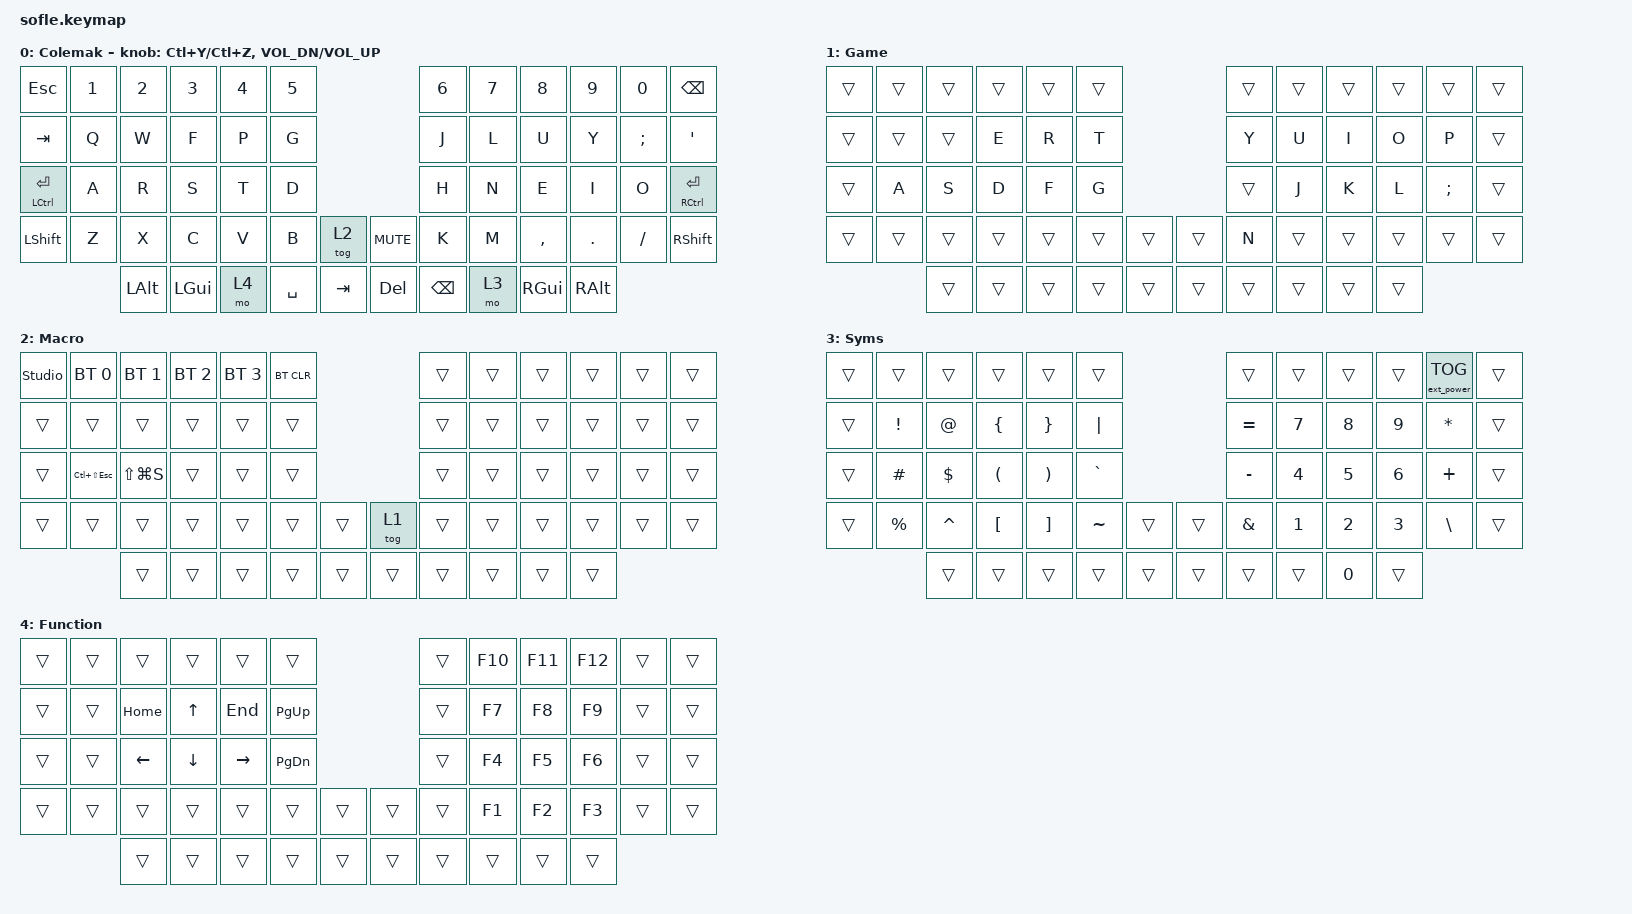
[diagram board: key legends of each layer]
#include <behaviors.dtsi>
#include <dt-bindings/zmk/bt.h>
#include <dt-bindings/zmk/ext_power.h>
#include <dt-bindings/zmk/keys.h>

/ {
    sensors {
        triggers-per-rotation = <20>;
    };
};

&nice_view_spi { cs-gpios = <&pro_micro 0 GPIO_ACTIVE_HIGH>; };

&left_encoder { steps = <80>; };
&right_encoder { steps = <80>; };

/ {
    keymap {
        compatible = "zmk,keymap";

        colemak {
            display-name = "Colemak";
            bindings = <
                &kp ESC          &kp N1      &kp N2      &kp N3       &kp N4       &kp N5                                &kp N6         &kp N7       &kp N8       &kp N9      &kp N0      &kp BACKSPACE
                &kp TAB          &kp Q       &kp W       &kp F        &kp P        &kp G                                 &kp J          &kp L        &kp U        &kp Y       &kp SEMI    &kp SQT
                &mt LCTRL ENTER  &kp A       &kp R       &kp S        &kp T        &kp D                                 &kp H          &kp N        &kp E        &kp I       &kp O       &mt RCTRL ENTER  
                &kp LSHFT        &kp Z       &kp X       &kp C        &kp V        &kp B      &tog 2        &kp C_MUTE   &kp K          &kp M        &kp COMMA    &kp DOT     &kp FSLH    &kp RSHFT
                                             &kp LALT    &kp LGUI     &mo 4        &kp SPACE  &kp TAB       &kp DEL      &kp BACKSPACE  &mo 3        &kp RGUI     &kp RALT
            >;

            sensor-bindings = <&inc_dec_kp LC(Y) LC(Z) &inc_dec_kp C_VOL_DN C_VOL_UP>;
        };

        game {
            display-name = "Game";
            bindings = <
                &trans  &trans  &trans  &trans  &trans  &trans                          &trans  &trans  &trans  &trans    &trans    &trans
                &trans  &trans  &trans  &kp E   &kp R   &kp T                           &kp Y   &kp U   &kp I   &kp O     &kp P     &trans
                &trans  &kp A   &kp S   &kp D   &kp F   &kp G                           &trans  &kp J   &kp K   &kp L     &kp SEMI  &trans
                &trans  &trans  &trans  &trans  &trans  &trans  &trans       &trans      &kp N   &trans  &trans  &trans    &trans    &trans
                                &trans  &trans  &trans  &trans  &trans       &trans      &trans  &trans  &trans  &trans
            >;
        };

        macro {
            display-name = "Macro";
            bindings = <
                &studio_unlock  &bt BT_SEL 0         &bt BT_SEL 1    &bt BT_SEL 2   &bt BT_SEL 3   &bt BT_CLR                       &trans  &trans  &trans  &trans  &trans  &trans
                &trans          &trans               &trans          &trans         &trans         &trans                           &trans  &trans  &trans  &trans  &trans  &trans
                &trans          &kp LC(LS(ESCAPE))   &kp LS(LG(S))   &trans         &trans         &trans                           &trans  &trans  &trans  &trans  &trans  &trans
                &trans          &trans               &trans          &trans         &trans         &trans      &trans    &tog 1     &trans  &trans  &trans  &trans  &trans  &trans
                                                     &trans          &trans         &trans         &trans      &trans    &trans     &trans  &trans  &trans  &trans
            >;
        };

        symbol {
            display-name = "Syms";
            bindings = <
                &trans  &trans     &trans     &trans    &trans    &trans                             &trans     &trans  &trans  &trans  &ext_power EP_TOG  &trans
                &trans  &kp EXCL   &kp AT     &kp LBRC  &kp RBRC  &kp PIPE                           &kp EQUAL  &kp N7  &kp N8  &kp N9  &kp ASTRK          &trans
                &trans  &kp HASH   &kp DLLR   &kp LPAR  &kp RPAR  &kp GRAVE                          &kp MINUS  &kp N4  &kp N5  &kp N6  &kp PLUS           &trans
                &trans  &kp PRCNT  &kp CARET  &kp LBKT  &kp RBKT  &kp TILDE  &trans      &trans      &kp AMPS   &kp N1  &kp N2  &kp N3  &kp BSLH           &trans
                                   &trans     &trans    &trans    &trans     &trans      &trans      &trans     &trans  &kp N0  &trans
            >;
        };

        function {
            display-name = "Function";
            bindings = <
                &trans  &trans  &trans    &trans    &trans     &trans                              &trans  &kp F10  &kp F11  &kp F12  &trans  &trans
                &trans  &trans  &kp HOME  &kp UP    &kp END    &kp PG_UP                           &trans  &kp F7   &kp F8   &kp F9   &trans  &trans
                &trans  &trans  &kp LEFT  &kp DOWN  &kp RIGHT  &kp PG_DN                           &trans  &kp F4   &kp F5   &kp F6   &trans  &trans
                &trans  &trans  &trans    &trans    &trans     &trans      &trans      &trans      &trans  &kp F1   &kp F2   &kp F3   &trans  &trans
                                &trans    &trans    &trans     &trans      &trans      &trans      &trans  &trans   &trans   &trans
            >;
        };
    };
};
